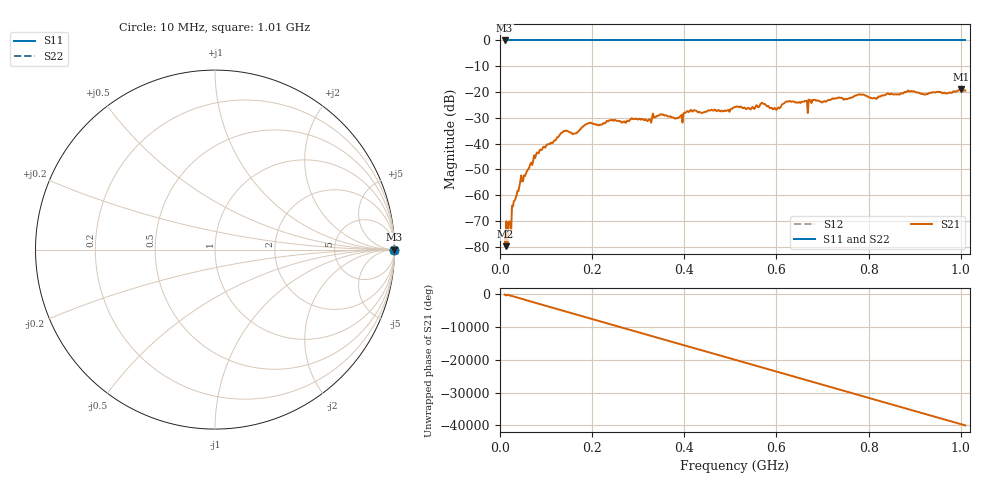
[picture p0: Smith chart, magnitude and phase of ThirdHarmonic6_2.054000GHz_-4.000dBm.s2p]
! 8/17/2025 12:37:06 AM
! C:\ANRITSUVNA\TEMP\TEMP.S2P
! CHANNEL.1
! TR.MEASUREMENT
! RAW.DATA
! RF.CORRECTION.OFF
! AVERAGING.OFF
! IF.BANDWIDTH: 5KHZ
! SWEEPTYPE:  FREQ.SWEEP(Linear)
! Reference Plane Port Info
! PORT:  PORT1  PORT2
! DISTANCE:  0  m  0  m
! TIME:  0  s  0  s
! PHASE.OFFSET:  0  deg.  0  deg.
! LOSS:  0  dB  0  dB
! REF.LOSS:  0  dB  0  dB
! REF.FREQ:  0  Hz  0  Hz
! Power Info
! POWER:  -20  dBm  -20  dBm
! EFF.POWER:  -20  dBm  -20  dBm
! SOURCE.ATTEN:  0  dB  0  dB
! TEST.ATTEN:  0  dB  0  dB
# GHZ S RI R 50.0
! FREQ.GHZ  S11RE  S11IM  S21RE  S21IM  S12RE  S12IM  S22RE  S22IM
!; PortSelection: Port_12
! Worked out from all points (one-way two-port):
!   501 points, 10 MHz to 1.01 GHz, reference 50 ohm
!   highest |S21| = -18.89 dB at 1 GHz (marker M1); lowest = -79.7 dB at 12 MHz (marker M2)
!   lowest |S11| = 0.0 dB at 10 MHz (marker M3)
!   |S11| at or under -10 dB: nowhere
!   |S22| runs from 0.0 to 0.0 dB; largest |S21 - S12| = 1.1
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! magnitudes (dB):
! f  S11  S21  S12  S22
! 10 MHz  0.0  -74.8  0.0  0.0
! 12 MHz  0.0  -79.7  0.0  0.0
! 18 MHz  0.0  -71.3  0.0  0.0
! 20 MHz  0.0  -70.1  0.0  0.0
! 30 MHz  0.0  -62.3  0.0  0.0
! 42 MHz  0.0  -56.6  0.0  0.0
! 78 MHz  0.0  -44.5  0.0  0.0
! 136 MHz  0.0  -35.6  0.0  0.0
! 162 MHz  0.0  -36.1  0.0  0.0
! 178 MHz  0.0  -33.6  0.0  0.0
! 324 MHz  0.0  -30.5  0.0  0.0
! 344 MHz  0.0  -29.2  0.0  0.0
! 382 MHz  0.0  -30.2  0.0  0.0
! 410 MHz  0.0  -27.8  0.0  0.0
! 510 MHz  0.0  -25.8  0.0  0.0
! 570 MHz  0.0  -24.3  0.0  0.0
! 596 MHz  0.0  -26.1  0.0  0.0
! 624 MHz  0.0  -23.7  0.0  0.0
! 678 MHz  0.0  -23.1  0.0  0.0
! 844 MHz  0.0  -20.8  0.0  0.0
! 1 GHz  0.0  -18.9  0.0  0.0
! 1.01 GHz  0.0  -19.4  0.0  0.0
